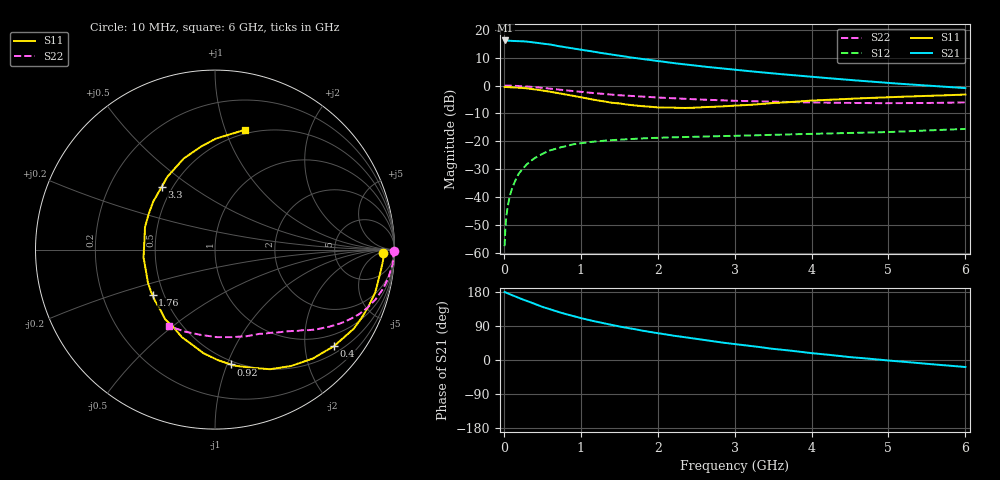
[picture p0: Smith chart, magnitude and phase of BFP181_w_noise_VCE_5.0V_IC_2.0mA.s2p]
! Infineon Technologies  Discrete & RF Semiconductors
! BFP181
! VCE = 5.0 V,  IC =  2.0 mA
! Common Emitter S-Parameters:  Jan 2016
# GHz  S  MA  R  50
!  f  S11  S21  S12  S22
! GHz  MAG  ANG  MAG  ANG  MAG  ANG  MAG  ANG
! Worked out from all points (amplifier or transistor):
!   210 points, 10 MHz to 6 GHz, reference 50 ohm
!   highest |S21| = 16.2 dB at 20 MHz (marker M1)
!   |S21| within 3 dB of that: start of sweep to 931.1 MHz
!   unconditionally stable (mu >= 1): 2.505 GHz to end of sweep
!   at 185 MHz: K = 0.10, MSG = 24.1 dB, |S12| = -32.1 dB
!   at 1.52 GHz: K = 0.68, MSG = 15.1 dB, |S12| = -19.4 dB
!   at 6 GHz: K = 1.13, MAG = 5.2 dB, |S12| = -15.6 dB
!   lowest NFmin = 1.35 dB at 450 MHz
!   S11 on the Smith chart (normalised r, x): 10 MHz: 29, -8; 400 MHz: 0.67, -2.67; 920 MHz: 0.47, -1.03; 1.76 GHz: 0.43, -0.27; 3.3 GHz: 0.44, +0.39; 6 GHz: 0.46, +1.17
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0.01  0.9372 -1.0  6.433 179.3  0.0013 82.0  0.9969 -0.3
0.02  0.9415 -2.2  6.445 178.8  0.0028 81.3  0.9903 -0.9
0.06  0.9333 -6.0  6.383 175.0  0.0079 87.3  0.9934 -2.8
0.13  0.9245 -13.0  6.309 169.3  0.0172 80.0  0.988 -5.9
0.24  0.904 -23.7  6.233 160.1  0.0311 75.2  0.9715 -10.8
0.3  0.8894 -29.8  6.151 156.0  0.0385 71.9  0.9604 -13.3
0.4  0.8541 -39.0  5.925 147.7  0.0496 66.8  0.9364 -17.3
0.5  0.8155 -48.1  5.665 140.3  0.0591 61.0  0.9085 -20.9
0.6  0.7749 -56.8  5.462 133.6  0.0683 56.7  0.8785 -24.3
0.8  0.6889 -72.9  4.899 121.4  0.0814 48.8  0.8206 -29.6
0.92  0.6457 -82.3  4.591 114.9  0.0884 44.7  0.7893 -32.2
1.02  0.608 -90.0  4.356 109.7  0.0926 41.9  0.7643 -34.3
1.2  0.5456 -103.3  3.978 101.2  0.0992 37.0  0.7251 -37.7
1.4  0.4902 -118.2  3.601 92.8  0.1045 33.2  0.6871 -40.8
1.76  0.4304 -144.0  3.047 79.1  0.1116 28.1  0.6356 -45.5
2.02  0.4031 -162.4  2.732 70.2  0.1153 25.0  0.6065 -48.7
2.4  0.3957 173.4  2.362 58.5  0.1194 21.8  0.5732 -53.8
3.1  0.4413 138.1  1.864 39.6  0.1258 18.1  0.5271 -63.5
3.3  0.4591 130.3  1.75 34.8  0.1282 17.2  0.5198 -66.6
4.1  0.5433 106.6  1.399 16.2  0.1364 14.2  0.4937 -80.9
5.1  0.6243 87.9  1.087 -3.0  0.1478 12.1  0.4814 -101.5
6  0.6876 76.0  0.898 -18.6  0.1658 9.5  0.4979 -120.9
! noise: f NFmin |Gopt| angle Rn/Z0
0.45  1.35  0.6  17  0.4
0.9  1.45  0.5  36  0.4
1.8  1.8  0.31  80  0.37
